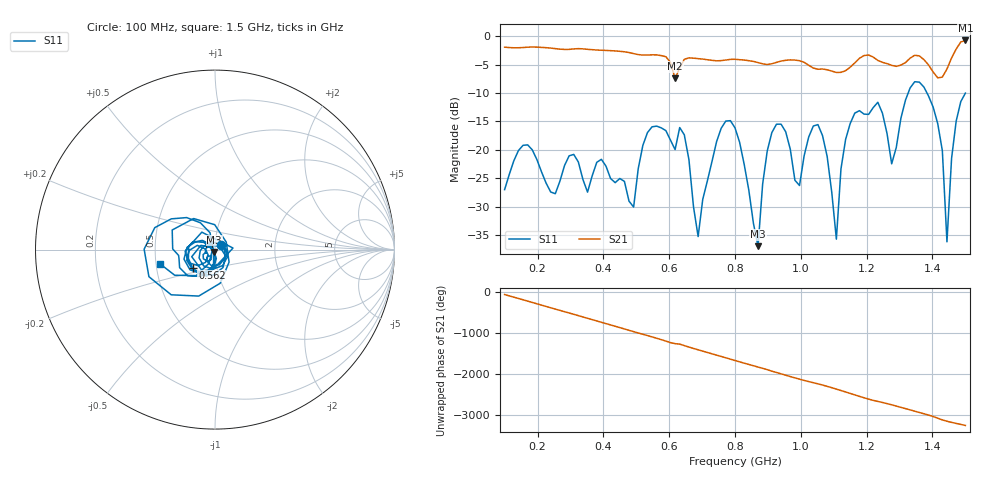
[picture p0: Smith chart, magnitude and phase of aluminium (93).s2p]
! NanoVNA-App
! Date: 2025-09-25 14:56:00
! Start: 100MHz Stop: 1,5GHz Points: 101
! S-Parameter data: F S11 S21 S12 S22
# Hz S RI R 50
!  Frequency  S11_Real  S11_Imag  S21_Real  S21_Imag  S12_Real  S12_Imag  S22_Real  S22_Imag
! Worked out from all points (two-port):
!   101 points, 100 MHz to 1.5 GHz, reference 50 ohm
!   highest |S21| = -0.74 dB at 1.5 GHz (marker M1); lowest = -7.4 dB at 618 MHz (marker M2)
!   |S21| within 3 dB of the highest: start of sweep to 591.9 MHz; 1.182 GHz to 1.222 GHz (39.53 MHz wide, 3.29 % of centre) (the widest 2 of 4)
!   lowest |S11| = -37.0 dB at 870 MHz (marker M3), VSWR 1.03, Z = 49.5 - j1.33 ohm
!   |S11| at or under -10 dB: start of sweep to 1.326 GHz; 1.383 GHz to end of sweep
!   S12 and S22 are empty: the file has one direction only
!   S11 on the Smith chart (normalised r, x): 100 MHz: 1.07, +0.06; 562 MHz: 0.76, -0.16; 1.5 GHz: 0.53, -0.09
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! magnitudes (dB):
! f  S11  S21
! 100 MHz  -27.0  -1.9
! 338 MHz  -25.2  -2.2
! 492 MHz  -30.1  -3.1
! 562 MHz  -15.8  -3.3
! 576 MHz  -16.1  -3.4
! 618 MHz  -19.9  -7.4
! 646 MHz  -17.4  -4.1
! 688 MHz  -35.3  -3.9
! 800 MHz  -16.1  -4.0
! 870 MHz  -37.0  -4.6
! 912 MHz  -16.9  -4.8
! 996 MHz  -26.3  -4.3
! 1.038 GHz  -15.8  -5.6
! 1.108 GHz  -35.7  -6.4
! 1.164 GHz  -13.5  -4.7
! 1.234 GHz  -11.6  -4.2
! 1.276 GHz  -22.4  -5.1
! 1.374 GHz  -8.9  -4.1
! 1.43 GHz  -20.1  -7.2
! 1.444 GHz  -36.2  -5.8
! 1.472 GHz  -14.9  -2.2
! 1.5 GHz  -10.0  -0.7
